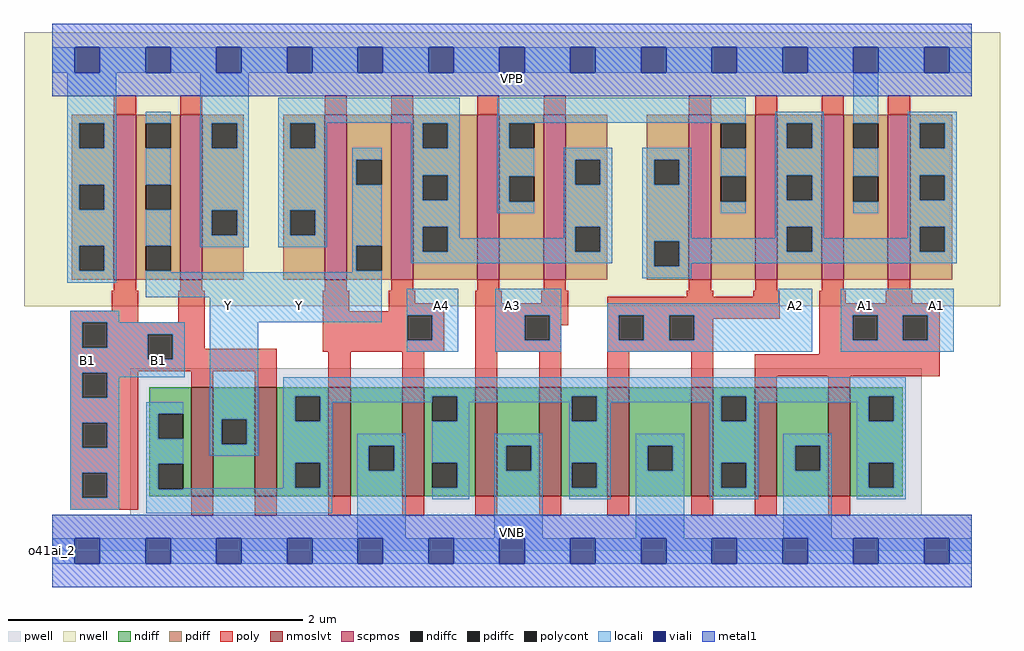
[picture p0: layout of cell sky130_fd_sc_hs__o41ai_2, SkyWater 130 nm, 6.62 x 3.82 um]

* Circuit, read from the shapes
.subckt sky130_fd_sc_hs__o41ai_2 A1 A2 A3 A4 B1 VGND VNB VPB VPWR Y
XM1 Y B1 n1 VNB sky130_fd_pr__nfet_01v8_lvt w=0.74 l=0.15 m=2
XM2 VGND A4 n1 VNB sky130_fd_pr__nfet_01v8_lvt w=0.74 l=0.15 m=2
XM3 VGND A3 n1 VNB sky130_fd_pr__nfet_01v8_lvt w=0.74 l=0.15 m=2
XM4 VGND A2 n1 VNB sky130_fd_pr__nfet_01v8_lvt w=0.74 l=0.15 m=2
XM5 VGND A1 n1 VNB sky130_fd_pr__nfet_01v8_lvt w=0.74 l=0.15 m=2
XM6 Y B1 VPWR VPB sky130_fd_pr__pfet_01v8 w=1.12 l=0.15 m=2
XM7 Y A4 n2 VPB sky130_fd_pr__pfet_01v8 w=1.12 l=0.15 m=2
XM8 n3 A3 n2 VPB sky130_fd_pr__pfet_01v8 w=1.12 l=0.15 m=2
XM9 n3 A2 n4 VPB sky130_fd_pr__pfet_01v8 w=1.12 l=0.15 m=2
XM10 VPWR A1 n4 VPB sky130_fd_pr__pfet_01v8 w=1.12 l=0.15 m=2
.ends

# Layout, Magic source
magic
tech sky130A
magscale 1 2
<< nwell >>
rect -38 332 1286 704
<< pwell >>
rect 106 49 1180 248
rect 0 0 1248 49
<< scpmos >>
rect 84 368 114 592
rect 174 368 204 592
rect 370 368 400 592
rect 460 368 490 592
rect 577 368 607 592
rect 667 368 697 592
rect 864 368 894 592
rect 954 368 984 592
rect 1044 368 1074 592
rect 1134 368 1164 592
<< nmoslvt >>
rect 189 74 219 222
rect 275 74 305 222
rect 375 74 405 222
rect 475 74 505 222
rect 574 74 604 222
rect 661 74 691 222
rect 753 74 783 222
rect 867 74 897 222
rect 953 74 983 222
rect 1053 74 1083 222
<< ndiff >>
rect 132 186 189 222
rect 132 152 144 186
rect 178 152 189 186
rect 132 118 189 152
rect 132 84 144 118
rect 178 84 189 118
rect 132 74 189 84
rect 219 179 275 222
rect 219 145 230 179
rect 264 145 275 179
rect 219 74 275 145
rect 305 210 375 222
rect 305 176 330 210
rect 364 176 375 210
rect 305 120 375 176
rect 305 86 330 120
rect 364 86 375 120
rect 305 74 375 86
rect 405 143 475 222
rect 405 109 430 143
rect 464 109 475 143
rect 405 74 475 109
rect 505 210 574 222
rect 505 176 516 210
rect 550 176 574 210
rect 505 120 574 176
rect 505 86 516 120
rect 550 86 574 120
rect 505 74 574 86
rect 604 143 661 222
rect 604 109 616 143
rect 650 109 661 143
rect 604 74 661 109
rect 691 210 753 222
rect 691 176 705 210
rect 739 176 753 210
rect 691 120 753 176
rect 691 86 705 120
rect 739 86 753 120
rect 691 74 753 86
rect 783 143 867 222
rect 783 109 808 143
rect 842 109 867 143
rect 783 74 867 109
rect 897 210 953 222
rect 897 176 908 210
rect 942 176 953 210
rect 897 120 953 176
rect 897 86 908 120
rect 942 86 953 120
rect 897 74 953 86
rect 983 143 1053 222
rect 983 109 1008 143
rect 1042 109 1053 143
rect 983 74 1053 109
rect 1083 210 1154 222
rect 1083 176 1108 210
rect 1142 176 1154 210
rect 1083 120 1154 176
rect 1083 86 1108 120
rect 1142 86 1154 120
rect 1083 74 1154 86
<< pdiff >>
rect 27 580 84 592
rect 27 546 37 580
rect 71 546 84 580
rect 27 497 84 546
rect 27 463 37 497
rect 71 463 84 497
rect 27 414 84 463
rect 27 380 37 414
rect 71 380 84 414
rect 27 368 84 380
rect 114 580 174 592
rect 114 546 127 580
rect 161 546 174 580
rect 114 497 174 546
rect 114 463 127 497
rect 161 463 174 497
rect 114 414 174 463
rect 114 380 127 414
rect 161 380 174 414
rect 114 368 174 380
rect 204 580 260 592
rect 204 546 217 580
rect 251 546 260 580
rect 204 462 260 546
rect 204 428 217 462
rect 251 428 260 462
rect 204 368 260 428
rect 314 580 370 592
rect 314 546 323 580
rect 357 546 370 580
rect 314 462 370 546
rect 314 428 323 462
rect 357 428 370 462
rect 314 368 370 428
rect 400 531 460 592
rect 400 497 413 531
rect 447 497 460 531
rect 400 414 460 497
rect 400 380 413 414
rect 447 380 460 414
rect 400 368 460 380
rect 490 580 577 592
rect 490 546 503 580
rect 537 546 577 580
rect 490 510 577 546
rect 490 476 503 510
rect 537 476 577 510
rect 490 440 577 476
rect 490 406 503 440
rect 537 406 577 440
rect 490 368 577 406
rect 607 580 667 592
rect 607 546 620 580
rect 654 546 667 580
rect 607 508 667 546
rect 607 474 620 508
rect 654 474 667 508
rect 607 368 667 474
rect 697 531 753 592
rect 697 497 710 531
rect 744 497 753 531
rect 697 440 753 497
rect 697 406 710 440
rect 744 406 753 440
rect 697 368 753 406
rect 807 531 864 592
rect 807 497 817 531
rect 851 497 864 531
rect 807 420 864 497
rect 807 386 817 420
rect 851 386 864 420
rect 807 368 864 386
rect 894 580 954 592
rect 894 546 907 580
rect 941 546 954 580
rect 894 508 954 546
rect 894 474 907 508
rect 941 474 954 508
rect 894 368 954 474
rect 984 580 1044 592
rect 984 546 997 580
rect 1031 546 1044 580
rect 984 510 1044 546
rect 984 476 997 510
rect 1031 476 1044 510
rect 984 440 1044 476
rect 984 406 997 440
rect 1031 406 1044 440
rect 984 368 1044 406
rect 1074 580 1134 592
rect 1074 546 1087 580
rect 1121 546 1134 580
rect 1074 508 1134 546
rect 1074 474 1087 508
rect 1121 474 1134 508
rect 1074 368 1134 474
rect 1164 580 1221 592
rect 1164 546 1177 580
rect 1211 546 1221 580
rect 1164 510 1221 546
rect 1164 476 1177 510
rect 1211 476 1221 510
rect 1164 440 1221 476
rect 1164 406 1177 440
rect 1211 406 1221 440
rect 1164 368 1221 406
<< ndiffc >>
rect 144 152 178 186
rect 144 84 178 118
rect 230 145 264 179
rect 330 176 364 210
rect 330 86 364 120
rect 430 109 464 143
rect 516 176 550 210
rect 516 86 550 120
rect 616 109 650 143
rect 705 176 739 210
rect 705 86 739 120
rect 808 109 842 143
rect 908 176 942 210
rect 908 86 942 120
rect 1008 109 1042 143
rect 1108 176 1142 210
rect 1108 86 1142 120
<< pdiffc >>
rect 37 546 71 580
rect 37 463 71 497
rect 37 380 71 414
rect 127 546 161 580
rect 127 463 161 497
rect 127 380 161 414
rect 217 546 251 580
rect 217 428 251 462
rect 323 546 357 580
rect 323 428 357 462
rect 413 497 447 531
rect 413 380 447 414
rect 503 546 537 580
rect 503 476 537 510
rect 503 406 537 440
rect 620 546 654 580
rect 620 474 654 508
rect 710 497 744 531
rect 710 406 744 440
rect 817 497 851 531
rect 817 386 851 420
rect 907 546 941 580
rect 907 474 941 508
rect 997 546 1031 580
rect 997 476 1031 510
rect 997 406 1031 440
rect 1087 546 1121 580
rect 1087 474 1121 508
rect 1177 546 1211 580
rect 1177 476 1211 510
rect 1177 406 1211 440
<< poly >>
rect 84 592 114 618
rect 174 592 204 618
rect 370 592 400 618
rect 460 592 490 618
rect 577 592 607 618
rect 667 592 697 618
rect 864 592 894 618
rect 954 592 984 618
rect 1044 592 1074 618
rect 1134 592 1164 618
rect 84 353 114 368
rect 174 353 204 368
rect 370 353 400 368
rect 460 353 490 368
rect 577 353 607 368
rect 667 353 697 368
rect 864 353 894 368
rect 954 353 984 368
rect 1044 353 1074 368
rect 1134 353 1164 368
rect 81 326 117 353
rect 25 310 117 326
rect 171 310 207 353
rect 25 276 41 310
rect 75 294 207 310
rect 75 276 130 294
rect 25 260 130 276
rect 164 274 207 294
rect 367 325 403 353
rect 457 336 493 353
rect 574 336 610 353
rect 664 336 700 353
rect 861 345 897 353
rect 951 345 987 353
rect 457 325 532 336
rect 367 320 532 325
rect 367 286 482 320
rect 516 286 532 320
rect 164 260 305 274
rect 367 270 532 286
rect 574 320 700 336
rect 574 286 641 320
rect 675 306 700 320
rect 753 320 987 345
rect 675 286 691 306
rect 574 270 691 286
rect 25 244 305 260
rect 25 242 117 244
rect 25 208 41 242
rect 75 208 117 242
rect 189 222 219 244
rect 275 222 305 244
rect 375 222 405 270
rect 475 222 505 270
rect 574 222 604 270
rect 661 222 691 270
rect 753 286 769 320
rect 803 286 837 320
rect 871 315 987 320
rect 1041 336 1077 353
rect 1131 336 1167 353
rect 1041 320 1204 336
rect 871 286 897 315
rect 753 270 897 286
rect 753 222 783 270
rect 867 222 897 270
rect 1041 286 1086 320
rect 1120 286 1154 320
rect 1188 286 1204 320
rect 1041 267 1204 286
rect 953 237 1204 267
rect 953 222 983 237
rect 1053 222 1083 237
rect 25 174 117 208
rect 25 140 41 174
rect 75 140 117 174
rect 25 106 117 140
rect 25 72 41 106
rect 75 72 117 106
rect 25 56 117 72
rect 189 48 219 74
rect 275 48 305 74
rect 375 48 405 74
rect 475 48 505 74
rect 574 48 604 74
rect 661 48 691 74
rect 753 48 783 74
rect 867 48 897 74
rect 953 48 983 74
rect 1053 48 1083 74
<< polycont >>
rect 41 276 75 310
rect 130 260 164 294
rect 482 286 516 320
rect 641 286 675 320
rect 41 208 75 242
rect 769 286 803 320
rect 837 286 871 320
rect 1086 286 1120 320
rect 1154 286 1188 320
rect 41 140 75 174
rect 41 72 75 106
<< locali >>
rect 0 649 31 683
rect 65 649 127 683
rect 161 649 223 683
rect 257 649 319 683
rect 353 649 415 683
rect 449 649 511 683
rect 545 649 607 683
rect 641 649 703 683
rect 737 649 799 683
rect 833 649 895 683
rect 929 649 991 683
rect 1025 649 1087 683
rect 1121 649 1183 683
rect 1217 649 1248 683
rect 21 580 87 649
rect 21 546 37 580
rect 71 546 87 580
rect 21 497 87 546
rect 21 463 37 497
rect 71 463 87 497
rect 21 414 87 463
rect 21 380 37 414
rect 71 380 87 414
rect 21 364 87 380
rect 127 580 161 596
rect 127 497 161 546
rect 127 414 161 463
rect 201 580 267 649
rect 201 546 217 580
rect 251 546 267 580
rect 201 462 267 546
rect 201 428 217 462
rect 251 428 267 462
rect 201 412 267 428
rect 307 581 553 615
rect 307 580 373 581
rect 307 546 323 580
rect 357 546 373 580
rect 487 580 553 581
rect 307 462 373 546
rect 307 428 323 462
rect 357 428 373 462
rect 307 412 373 428
rect 407 531 447 547
rect 407 497 413 531
rect 407 414 447 497
rect 127 378 161 380
rect 407 380 413 414
rect 487 546 503 580
rect 537 546 553 580
rect 487 510 553 546
rect 487 476 503 510
rect 537 476 553 510
rect 487 440 553 476
rect 604 581 941 615
rect 604 580 654 581
rect 604 546 620 580
rect 907 580 941 581
rect 604 508 654 546
rect 604 474 620 508
rect 604 458 654 474
rect 694 531 760 547
rect 694 497 710 531
rect 744 497 760 531
rect 487 406 503 440
rect 537 424 553 440
rect 694 440 760 497
rect 694 424 710 440
rect 537 406 710 424
rect 744 406 760 440
rect 487 390 760 406
rect 801 531 867 547
rect 801 497 817 531
rect 851 497 867 531
rect 801 424 867 497
rect 907 508 941 546
rect 907 458 941 474
rect 981 580 1047 596
rect 981 546 997 580
rect 1031 546 1047 580
rect 981 510 1047 546
rect 981 476 997 510
rect 1031 476 1047 510
rect 981 440 1047 476
rect 1087 580 1121 649
rect 1087 508 1121 546
rect 1087 458 1121 474
rect 1161 580 1227 596
rect 1161 546 1177 580
rect 1211 546 1227 580
rect 1161 510 1227 546
rect 1161 476 1177 510
rect 1211 476 1227 510
rect 981 424 997 440
rect 801 420 997 424
rect 407 378 447 380
rect 127 344 447 378
rect 801 386 817 420
rect 851 406 997 420
rect 1031 424 1047 440
rect 1161 440 1227 476
rect 1161 424 1177 440
rect 1031 406 1177 424
rect 1211 406 1227 440
rect 851 390 1227 406
rect 851 386 867 390
rect 801 370 867 386
rect 25 310 91 326
rect 214 310 447 344
rect 481 320 551 356
rect 25 276 41 310
rect 75 294 180 310
rect 75 276 130 294
rect 25 260 130 276
rect 164 260 180 294
rect 25 242 180 260
rect 25 208 41 242
rect 75 236 180 242
rect 75 208 91 236
rect 25 174 91 208
rect 25 140 41 174
rect 75 140 91 174
rect 25 106 91 140
rect 25 72 41 106
rect 75 72 91 106
rect 25 56 91 72
rect 128 186 178 202
rect 128 152 144 186
rect 128 118 178 152
rect 214 179 280 310
rect 481 286 482 320
rect 516 286 551 320
rect 481 270 551 286
rect 601 320 691 356
rect 985 336 1031 356
rect 601 286 641 320
rect 675 286 691 320
rect 601 270 691 286
rect 753 320 1031 336
rect 753 286 769 320
rect 803 286 837 320
rect 871 286 1031 320
rect 753 270 1031 286
rect 1070 320 1223 356
rect 1070 286 1086 320
rect 1120 286 1154 320
rect 1188 286 1223 320
rect 1070 270 1223 286
rect 214 145 230 179
rect 264 145 280 179
rect 214 129 280 145
rect 314 210 1158 236
rect 314 176 330 210
rect 364 202 516 210
rect 364 176 380 202
rect 128 84 144 118
rect 314 120 380 176
rect 550 202 705 210
rect 550 176 566 202
rect 314 86 330 120
rect 364 86 380 120
rect 314 85 380 86
rect 178 84 380 85
rect 128 51 380 84
rect 414 143 480 159
rect 414 109 430 143
rect 464 109 480 143
rect 414 17 480 109
rect 516 120 566 176
rect 702 176 705 202
rect 739 202 908 210
rect 739 176 758 202
rect 550 86 566 120
rect 516 70 566 86
rect 600 143 666 159
rect 600 109 616 143
rect 650 109 666 143
rect 600 17 666 109
rect 702 120 758 176
rect 892 176 908 202
rect 942 202 1108 210
rect 942 176 958 202
rect 702 86 705 120
rect 739 86 758 120
rect 702 70 758 86
rect 792 143 858 159
rect 792 109 808 143
rect 842 109 858 143
rect 792 17 858 109
rect 892 120 958 176
rect 1092 176 1108 202
rect 1142 176 1158 210
rect 892 86 908 120
rect 942 86 958 120
rect 892 70 958 86
rect 992 143 1058 159
rect 992 109 1008 143
rect 1042 109 1058 143
rect 992 17 1058 109
rect 1092 120 1158 176
rect 1092 86 1108 120
rect 1142 86 1158 120
rect 1092 70 1158 86
rect 0 -17 31 17
rect 65 -17 127 17
rect 161 -17 223 17
rect 257 -17 319 17
rect 353 -17 415 17
rect 449 -17 511 17
rect 545 -17 607 17
rect 641 -17 703 17
rect 737 -17 799 17
rect 833 -17 895 17
rect 929 -17 991 17
rect 1025 -17 1087 17
rect 1121 -17 1183 17
rect 1217 -17 1248 17
<< viali >>
rect 31 649 65 683
rect 127 649 161 683
rect 223 649 257 683
rect 319 649 353 683
rect 415 649 449 683
rect 511 649 545 683
rect 607 649 641 683
rect 703 649 737 683
rect 799 649 833 683
rect 895 649 929 683
rect 991 649 1025 683
rect 1087 649 1121 683
rect 1183 649 1217 683
rect 31 -17 65 17
rect 127 -17 161 17
rect 223 -17 257 17
rect 319 -17 353 17
rect 415 -17 449 17
rect 511 -17 545 17
rect 607 -17 641 17
rect 703 -17 737 17
rect 799 -17 833 17
rect 895 -17 929 17
rect 991 -17 1025 17
rect 1087 -17 1121 17
rect 1183 -17 1217 17
<< metal1 >>
rect 0 683 1248 715
rect 0 649 31 683
rect 65 649 127 683
rect 161 649 223 683
rect 257 649 319 683
rect 353 649 415 683
rect 449 649 511 683
rect 545 649 607 683
rect 641 649 703 683
rect 737 649 799 683
rect 833 649 895 683
rect 929 649 991 683
rect 1025 649 1087 683
rect 1121 649 1183 683
rect 1217 649 1248 683
rect 0 617 1248 649
rect 0 17 1248 49
rect 0 -17 31 17
rect 65 -17 127 17
rect 161 -17 223 17
rect 257 -17 319 17
rect 353 -17 415 17
rect 449 -17 511 17
rect 545 -17 607 17
rect 641 -17 703 17
rect 737 -17 799 17
rect 833 -17 895 17
rect 929 -17 991 17
rect 1025 -17 1087 17
rect 1121 -17 1183 17
rect 1217 -17 1248 17
rect 0 -49 1248 -17
<< labels >>
rlabel comment s 0 0 0 0 4 o41ai_2
flabel pwell s 0 0 1248 49 0 FreeSans 200 0 0 0 VNB
port 7 nsew ground bidirectional
flabel nwell s 0 617 1248 666 0 FreeSans 200 0 0 0 VPB
port 8 nsew power bidirectional
flabel metal1 s 0 617 1248 666 0 FreeSans 340 0 0 0 VPWR
port 9 nsew power bidirectional
flabel metal1 s 0 0 1248 49 0 FreeSans 340 0 0 0 VGND
port 6 nsew ground bidirectional
flabel locali s 1087 316 1121 350 0 FreeSans 340 0 0 0 A1
port 1 nsew signal input
flabel locali s 1183 316 1217 350 0 FreeSans 340 0 0 0 A1
port 1 nsew signal input
flabel locali s 223 316 257 350 0 FreeSans 340 0 0 0 Y
port 10 nsew signal output
flabel locali s 319 316 353 350 0 FreeSans 340 0 0 0 Y
port 10 nsew signal output
flabel locali s 31 242 65 276 0 FreeSans 340 0 0 0 B1
port 5 nsew signal input
flabel locali s 127 242 161 276 0 FreeSans 340 0 0 0 B1
port 5 nsew signal input
flabel locali s 511 316 545 350 0 FreeSans 340 0 0 0 A4
port 4 nsew signal input
flabel locali s 607 316 641 350 0 FreeSans 340 0 0 0 A3
port 3 nsew signal input
flabel locali s 991 316 1025 350 0 FreeSans 340 0 0 0 A2
port 2 nsew signal input
<< properties >>
string LEFsite unit
string LEFclass CORE
string FIXED_BBOX 0 0 1248 666
string GDS_FILE $PDKPATH/libs.ref/sky130_fd_sc_hs/gds/sky130_fd_sc_hs.gds
string LEFsymmetry X Y
string GDS_END 3671816
string GDS_START 3661100
<< end >>
